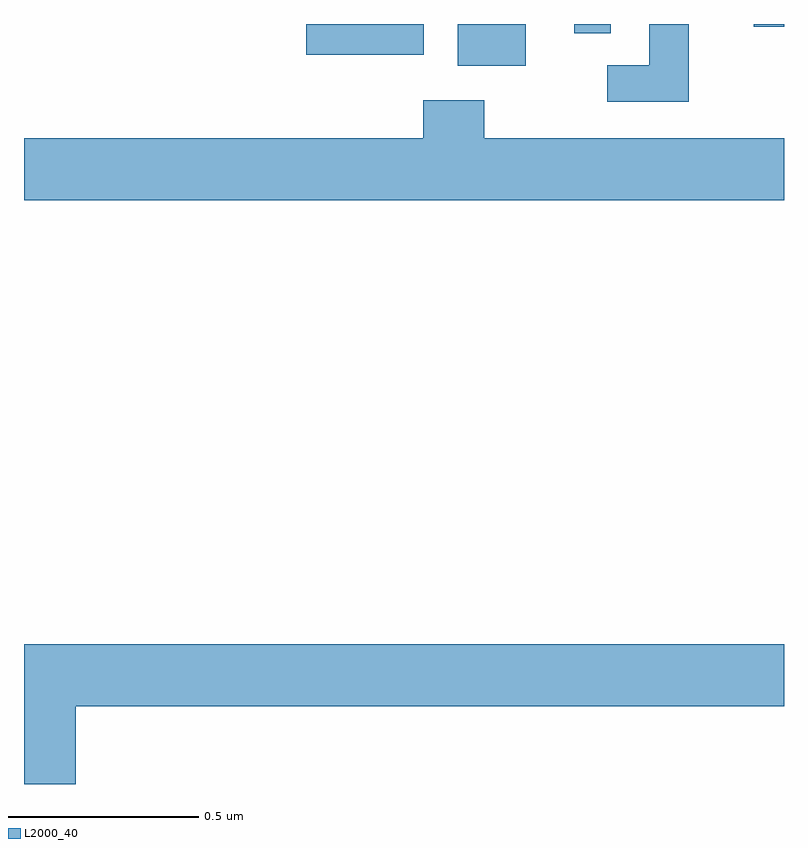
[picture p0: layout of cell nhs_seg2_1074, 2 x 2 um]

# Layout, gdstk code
import gdstk
lib = gdstk.Library(unit=1e-6, precision=1e-09)
def R(c, l, rs):  # rectangles x0, y0, x1, y1
    for r in rs: c.add(gdstk.rectangle(r[:2], r[2:], *l))
def P(c, l, *ps):  # polygons
    for p in ps: c.add(gdstk.Polygon(p, *l))
L2000_40 = (2000, 40)

nhs_seg2_1074 = lib.new_cell('nhs_seg2_1074')
R(nhs_seg2_1074, L2000_40, [(125.141,614.69,125.32,614.8), (124.743,614.719,125.052,614.8), (125.448,614.776,125.544,614.8), (125.921,614.793,126,614.8)])
P(nhs_seg2_1074, L2000_40, [(125.749,614.8),(125.645,614.8),(125.645,614.691),(125.535,614.691),(125.535,614.595),(125.749,614.595)],
  [(126,614.5),(125.211,614.5),(125.211,614.599),(125.051,614.599),(125.051,614.5),(124,614.5),(124,614.336),(126,614.336)],
  [(124.136,613.004),(126,613.004),(126,613.168),(124,613.168),(124,612.8),(124.136,612.8)])

lib.write_gds('nhs_seg2_1074.gds')
